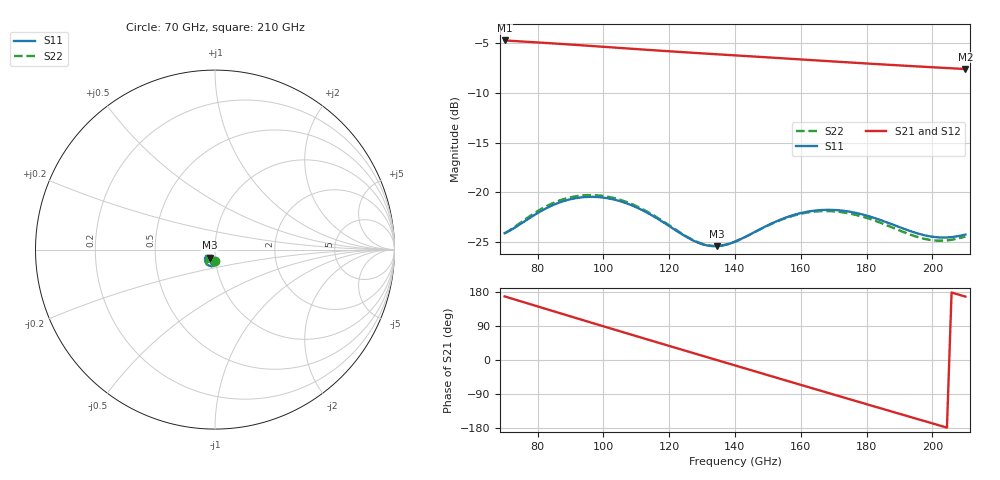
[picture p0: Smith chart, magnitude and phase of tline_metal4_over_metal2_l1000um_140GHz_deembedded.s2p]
! Created with skrf 2.2.0 (http://scikit-rf.org).
# GHz S DB R 50.0
! Port[1] = P1
! Port[2] = P2
!freq dBS11 angS11 dBS21 angS21 dBS12 angS12 dBS22 angS22
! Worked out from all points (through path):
!   101 points, 70 GHz to 210 GHz, reference 50 ohm
!   highest |S21| = -4.78 dB at 70 GHz (marker M1); lowest = -7.6 dB at 210 GHz (marker M2)
!   group delay of S21, straight-line fit = 7.15 ps
!   lowest |S11| = -25.4 dB at 134.4 GHz (marker M3), VSWR 1.11, Z = 47 - j4.28 ohm
!   |S11| at or under -10 dB: start of sweep to end of sweep
!   |S22| runs from -25.4 to -20.3 dB; largest |S21 - S12| = 8.5e-14
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70  -24.08 -96.3  -4.78 167.8  -4.78 167.8  -24.10 -91.9
75.6  -23.00 -91.7  -4.89 153.1  -4.89 153.1  -22.85 -88.0
82.6  -21.60 -94.2  -5.03 134.7  -5.03 134.7  -21.39 -91.5
88.2  -20.84 -100.1  -5.15 119.9  -5.15 119.9  -20.64 -97.9
93.8  -20.48 -107.5  -5.27 105.2  -5.27 105.2  -20.30 -105.7
99.4  -20.50 -115.3  -5.40 90.6  -5.40 90.6  -20.33 -113.8
105  -20.87 -122.7  -5.52 76.0  -5.52 76.0  -20.73 -121.4
110.6  -21.58 -129.0  -5.65 61.5  -5.65 61.5  -21.46 -127.9
117.6  -22.86 -133.8  -5.81 43.4  -5.81 43.4  -22.77 -132.9
126  -24.60 -132.3  -5.99 21.7  -5.99 21.7  -24.55 -131.5
134.4  -25.39 -122.5  -6.16 0.1  -6.16 0.1  -25.37 -121.8
140  -24.93 -116.1  -6.27 -14.3  -6.27 -14.3  -24.93 -115.4
145.6  -24.03 -113.2  -6.38 -28.7  -6.38 -28.7  -24.05 -112.6
152.6  -22.89 -114.6  -6.52 -46.7  -6.52 -46.7  -22.93 -114.1
158.2  -22.22 -118.4  -6.64 -61.0  -6.64 -61.0  -22.29 -117.9
163.8  -21.84 -123.3  -6.75 -75.4  -6.75 -75.4  -21.93 -122.9
169.4  -21.75 -128.6  -6.87 -89.6  -6.87 -89.6  -21.88 -128.3
175  -21.94 -133.6  -6.98 -103.9  -6.98 -103.9  -22.12 -133.3
180.6  -22.38 -137.7  -7.09 -118.1  -7.09 -118.1  -22.61 -137.2
187.6  -23.18 -140.3  -7.23 -135.9  -7.23 -135.9  -23.49 -139.5
198.8  -24.38 -137.1  -7.44 -164.3  -7.44 -164.3  -24.73 -134.9
210  -24.22 -129.1  -7.64 167.4  -7.64 167.4  -24.41 -125.9
